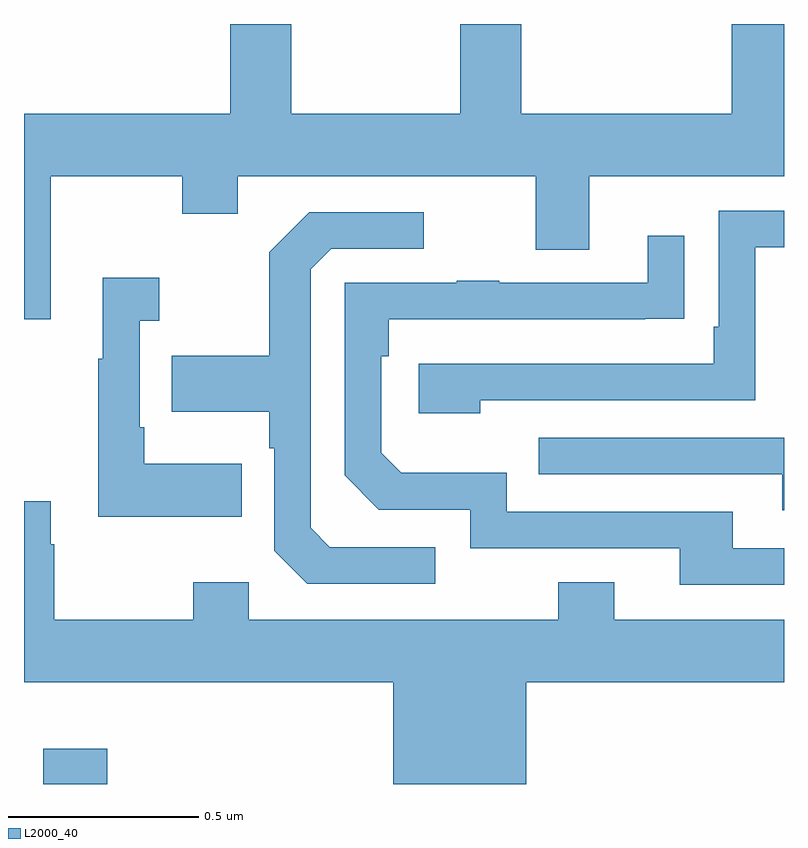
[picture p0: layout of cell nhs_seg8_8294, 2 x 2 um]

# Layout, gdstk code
import gdstk
lib = gdstk.Library(unit=1e-6, precision=1e-09)
def R(c, l, rs):  # rectangles x0, y0, x1, y1
    for r in rs: c.add(gdstk.rectangle(r[:2], r[2:], *l))
def P(c, l, *ps):  # polygons
    for p in ps: c.add(gdstk.Polygon(p, *l))
L2000_40 = (2000, 40)

nhs_seg8_8294 = lib.new_cell('nhs_seg8_8294')
R(nhs_seg8_8294, L2000_40, [(221.051,1114.9,221.219,1114.993)])
P(nhs_seg8_8294, L2000_40, [(221.071,1116.5),(221.416,1116.5),(221.416,1116.401),(221.563,1116.401),(221.563,1116.5),(222.347,1116.5),(222.347,1116.306),(222.487,1116.306),(222.487,1116.5),(223,1116.5),(223,1116.9),(222.863,1116.9),(222.863,1116.664),(222.308,1116.664),(222.308,1116.9),(222.148,1116.9),(222.148,1116.664),(221.703,1116.664),(221.703,1116.9),(221.543,1116.9),(221.543,1116.664),(221,1116.664),(221,1116.123),(221.071,1116.123)],
  [(222.2,1115.91),(222.924,1115.91),(222.924,1116.312),(223,1116.312),(223,1116.408),(222.828,1116.408),(222.828,1116.103),(222.815,1116.103),(222.815,1116.006),(222.039,1116.006),(222.039,1115.876),(222.2,1115.876)],
  [(222.082,1115.523),(221.805,1115.523),(221.754,1115.574),(221.754,1116.255),(221.808,1116.309),(222.052,1116.309),(222.052,1116.405),(221.751,1116.405),(221.646,1116.299),(221.646,1116.027),(221.389,1116.027),(221.389,1115.879),(221.646,1115.879),(221.646,1115.783),(221.658,1115.783),(221.658,1115.514),(221.745,1115.427),(222.082,1115.427)],
  [(223,1115.52),(222.865,1115.52),(222.865,1115.616),(222.27,1115.616),(222.27,1115.719),(221.993,1115.719),(221.94,1115.772),(221.94,1116.026),(221.96,1116.026),(221.96,1116.123),(222.635,1116.123),(222.635,1116.124),(222.737,1116.124),(222.737,1116.343),(222.641,1116.343),(222.641,1116.219),(222.251,1116.219),(222.251,1116.224),(222.139,1116.224),(222.139,1116.219),(221.844,1116.219),(221.844,1115.712),(221.934,1115.622),(222.174,1115.622),(222.174,1115.52),(222.725,1115.52),(222.725,1115.424),(223,1115.424)],
  [(221.573,1115.743),(221.317,1115.743),(221.317,1115.839),(221.304,1115.839),(221.304,1116.119),(221.356,1116.119),(221.356,1116.232),(221.207,1116.232),(221.207,1116.019),(221.196,1116.019),(221.196,1115.603),(221.573,1115.603)],
  [(223,1115.811),(222.355,1115.811),(222.355,1115.715),(222.995,1115.715),(222.995,1115.621),(223,1115.621)],
  [(222.322,1115.168),(223,1115.168),(223,1115.332),(222.553,1115.332),(222.553,1115.431),(222.406,1115.431),(222.406,1115.332),(221.592,1115.332),(221.592,1115.431),(221.446,1115.431),(221.446,1115.332),(221.079,1115.332),(221.079,1115.531),(221.071,1115.531),(221.071,1115.644),(221,1115.644),(221,1115.168),(221.972,1115.168),(221.972,1114.9),(222.322,1114.9)])

lib.write_gds('nhs_seg8_8294.gds')
